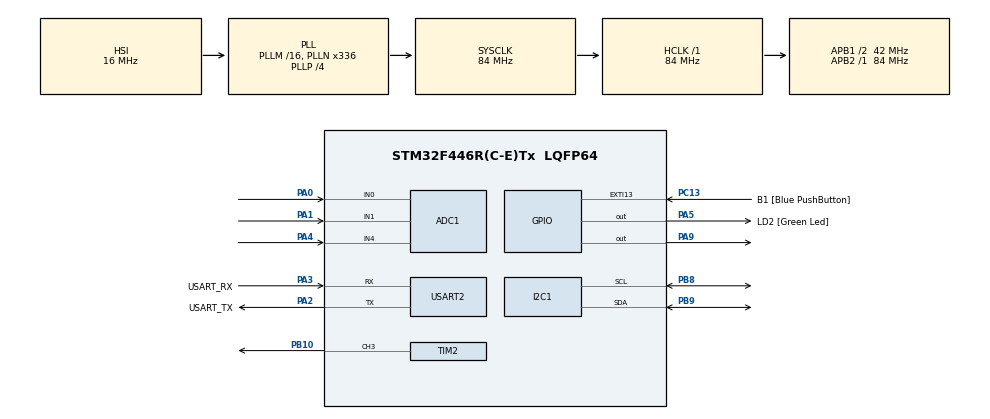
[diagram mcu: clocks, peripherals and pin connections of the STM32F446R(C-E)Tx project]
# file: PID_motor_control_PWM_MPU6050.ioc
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ADC1.Channel-1\#ChannelRegularConversion=ADC_CHANNEL_0
ADC1.Channel-2\#ChannelRegularConversion=ADC_CHANNEL_1
ADC1.Channel-3\#ChannelRegularConversion=ADC_CHANNEL_4
ADC1.ContinuousConvMode=ENABLE
ADC1.InjNumberOfConversion=0
ADC1.NbrOfConversion=3
ADC1.NbrOfConversionFlag=1
ADC1.Rank-1\#ChannelRegularConversion=1
ADC1.Rank-2\#ChannelRegularConversion=2
ADC1.Rank-3\#ChannelRegularConversion=3
ADC1.SamplingTime-1\#ChannelRegularConversion=ADC_SAMPLETIME_480CYCLES
ADC1.SamplingTime-2\#ChannelRegularConversion=ADC_SAMPLETIME_480CYCLES
ADC1.SamplingTime-3\#ChannelRegularConversion=ADC_SAMPLETIME_480CYCLES
ADC1.ScanConvMode=ENABLE
ADC1.master=1
Dma.Request0=TIM2_UP/CH3
Dma.TIM2_UP/CH3.0.Direction=DMA_MEMORY_TO_PERIPH
Dma.TIM2_UP/CH3.0.FIFOMode=DMA_FIFOMODE_DISABLE
Dma.TIM2_UP/CH3.0.Instance=DMA1_Stream1
Dma.TIM2_UP/CH3.0.MemDataAlignment=DMA_MDATAALIGN_WORD
Dma.TIM2_UP/CH3.0.MemInc=DMA_MINC_ENABLE
Dma.TIM2_UP/CH3.0.Mode=DMA_NORMAL
Dma.TIM2_UP/CH3.0.PeriphDataAlignment=DMA_PDATAALIGN_WORD
Dma.TIM2_UP/CH3.0.PeriphInc=DMA_PINC_DISABLE
Dma.TIM2_UP/CH3.0.Priority=DMA_PRIORITY_LOW
I2C1.I2C_Mode=I2C_Fast
Mcu.Family=STM32F4
Mcu.Name=STM32F446R(C-E)Tx
Mcu.Package=LQFP64
NVIC.ADC_IRQn=true\:0\:0\:true\:false\:true\:true\:true\:true
NVIC.DMA1_Stream1_IRQn=true\:0\:0\:false\:false\:true\:false\:true\:true
NVIC.PriorityGroup=NVIC_PRIORITYGROUP_0
NVIC.USART2_IRQn=true\:0\:0\:false\:false\:true\:true\:true\:true
PA0-WKUP.Signal=ADCx_IN0
PA1.Signal=ADCx_IN1
PA13.GPIO_Label=TMS
PA13.Mode=Serial_Wire
PA13.Signal=SYS_JTMS-SWDIO
PA14.GPIO_Label=TCK
PA14.Mode=Serial_Wire
PA14.Signal=SYS_JTCK-SWCLK
PA2.GPIO_Label=USART_TX
PA2.Mode=Asynchronous
PA2.Signal=USART2_TX
PA3.GPIO_Label=USART_RX
PA3.Mode=Asynchronous
PA3.Signal=USART2_RX
PA4.Signal=ADCx_IN4
PA5.GPIO_Label=LD2 [Green Led]
PA5.Signal=GPIO_Output
PA9.PinState=GPIO_PIN_SET
PA9.Signal=GPIO_Output
PB10.Signal=S_TIM2_CH3
PB3.GPIO_Label=SWO
PB3.Signal=SYS_JTDO-SWO
PB8.Mode=I2C
PB8.Signal=I2C1_SCL
PB9.Mode=I2C
PB9.Signal=I2C1_SDA
PC0.Signal=ADCx_IN10
PC13.GPIO_Label=B1 [Blue PushButton]
PC13.GPIO_ModeDefaultEXTI=GPIO_MODE_IT_FALLING
PC13.Signal=GPXTI13
PC14-OSC32_IN.Mode=LSE-External-Oscillator
PC14-OSC32_IN.Signal=RCC_OSC32_IN
PC15-OSC32_OUT.Mode=LSE-External-Oscillator
PC15-OSC32_OUT.Signal=RCC_OSC32_OUT
PH0-OSC_IN.Mode=HSE-External-Oscillator
PH0-OSC_IN.Signal=RCC_OSC_IN
PH1-OSC_OUT.Mode=HSE-External-Oscillator
PH1-OSC_OUT.Signal=RCC_OSC_OUT
ProjectManager.HeapSize=0x200
ProjectManager.StackSize=0x400
ProjectManager.TargetToolchain=STM32CubeIDE
RCC.48MHZClocksFreq_Value=84000000
RCC.AHBFreq_Value=84000000
RCC.APB1CLKDivider=RCC_HCLK_DIV2
RCC.APB1Freq_Value=42000000
RCC.APB1TimFreq_Value=84000000
RCC.APB2Freq_Value=84000000
RCC.APB2TimFreq_Value=84000000
RCC.CortexFreq_Value=84000000
RCC.FLatency-AdvancedSettings=FLASH_LATENCY_2
RCC.HCLKFreq_Value=84000000
RCC.HSE_VALUE=8000000
RCC.HSI_VALUE=16000000
RCC.PLLN=336
RCC.PLLP=RCC_PLLP_DIV4
RCC.SYSCLKFreq_VALUE=84000000
RCC.SYSCLKSource=RCC_SYSCLKSOURCE_PLLCLK
RCC.USBFreq_Value=168000000
RCC.VCOOutputFreq_Value=336000000
SH.ADCx_IN0.0=ADC1_IN0,IN0
SH.ADCx_IN1.0=ADC1_IN1,IN1
SH.ADCx_IN10.0=ADC3_IN10
SH.ADCx_IN10.1=ADC2_IN10
SH.ADCx_IN4.0=ADC1_IN4,IN4
SH.S_TIM2_CH3.0=TIM2_CH3,PWM Generation3 CH3
TIM2.Channel-PWM\ Generation3\ CH3=TIM_CHANNEL_3
TIM2.Period=100-1
TIM2.Prescaler=84-1
TIM2.Pulse-PWM\ Generation3\ CH3=0
USART2.VirtualMode=VM_ASYNC
board=NUCLEO-F446RE

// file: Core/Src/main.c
/* USER CODE BEGIN Header */
/**
  ******************************************************************************
  * @file           : main.c
  * @brief          : Main program body
  ******************************************************************************
  * @attention
  *
  * Copyright (c) 2024 STMicroelectronics.
  * All rights reserved.
  *
  * This software is licensed under terms that can be found in the LICENSE file
  * in the root directory of this software component.
  * If no LICENSE file comes with this software, it is provided AS-IS.
  *
  ******************************************************************************
  */
/* USER CODE END Header */
#include "main.h"

/* USER CODE BEGIN Includes */
#include "mpu.h"
#include "calculate_angle.h"
#include "pid.h"
#include "my_pid.h"
#include <time.h>

/* USER CODE END Includes */

ADC_HandleTypeDef hadc1;

I2C_HandleTypeDef hi2c1;

TIM_HandleTypeDef htim2;
DMA_HandleTypeDef hdma_tim2_up_ch3;

UART_HandleTypeDef huart2;

void SystemClock_Config(void);
static void MX_GPIO_Init(void);
static void MX_DMA_Init(void);
static void MX_USART2_UART_Init(void);
static void MX_TIM2_Init(void);
static void MX_ADC1_Init(void);
static void MX_I2C1_Init(void);

/* USER CODE BEGIN 0 */
double setpoint = 0;
double input, output;
double	MAX_PID_VALUE = 0.0;
double	MIN_PID_VALUE = 0.0;
double	prev_error;

uint16_t ADC_VAL[3];

PID_TypeDef t_PID;

void	read_potentiometers_values(void)
{
	  ADC_Select_CH0();
	  HAL_ADC_Start(&hadc1);
	  HAL_ADC_PollForConversion(&hadc1, 100);
	  ADC_VAL[0] = HAL_ADC_GetValue(&hadc1);
	  HAL_ADC_Stop(&hadc1);

	  ADC_Select_CH1();
	  HAL_ADC_Start(&hadc1);
	  HAL_ADC_PollForConversion(&hadc1, 100);
	  ADC_VAL[1] = HAL_ADC_GetValue(&hadc1);
	  HAL_ADC_Stop(&hadc1);

	  ADC_Select_CH4();
	  HAL_ADC_Start(&hadc1);
	  HAL_ADC_PollForConversion(&hadc1, 100);
	  ADC_VAL[2] = HAL_ADC_GetValue(&hadc1);
	  HAL_ADC_Stop(&hadc1);
}

int _write(int file, char *ptr, int len)
{
	HAL_UART_Transmit(&huart2, (uint8_t *)ptr, len, HAL_MAX_DELAY);
	return len;
}

void	set_PID_range(double *MIN_PID_VALUE, double *MAX_PID_VALUE, double dt, double kp, double ki, double kd)
{
    double error = 90;
    double *integral = 0;
//    double *prev_input;

//    double P = kp * error;
//    double I = ki * (prev_error + error) * dt;
//    double D = kd * (error - prev_error) / dt;
//
//    prev_error = error;
//
//    double output = P + I + D;
    double P = kp * error;
    //    double I = ki * (*previous_error + error) * dt;
        *integral += ki * error;
    //    double I = ki * error * dt;
    //    double D = kd * (error -  *previous_error) / dt;
        double D = kd * (error - prev_error);
        prev_error = error;
//        *prev_input = angle;

        double output = P + *integral - D;

	*MAX_PID_VALUE = output;
	*MIN_PID_VALUE = -output;
}
/* USER CODE END 0 */

int main(void)
{

  /* MCU Configuration--------------------------------------------------------*/

  /* Reset of all peripherals, Initializes the Flash interface and the Systick. */
  HAL_Init();

  /* USER CODE BEGIN Init */
  MPU6050_t mpu;
  Angle_t	angle;
  double	pot_P_value, pot_I_value, pot_D_value;

  double	dt = 0.0;
  uint32_t	start_time = 0;

  double integral = 0.0;
  double previous_error;
  /* USER CODE END Init */

  /* Configure the system clock */
  SystemClock_Config();

  /* Initialize all configured peripherals */
  MX_GPIO_Init();
  MX_DMA_Init();
  MX_USART2_UART_Init();
  MX_TIM2_Init();
  MX_ADC1_Init();
  MX_I2C1_Init();
  /* USER CODE BEGIN 2 */
//  HAL_GPIO_Init(GPIOA, GPIO_PIN_9, GPIO_MODE_OUTPUT_PP);

  while (MPU6050_Init(&hi2c1) == 1);

//  PID(&t_PID, &input, &output, &setpoint, 2.3, 0.5, 0.2, _PID_P_ON_E, _PID_CD_DIRECT);	///1.5	0.8		0.07
//  PID(&t_PID, &input, &output, &setpoint, 0, 0, 0, _PID_P_ON_E, _PID_CD_DIRECT);			///1.8	1.1		0.12
//  PID_SetMode(&t_PID, _PID_MODE_AUTOMATIC);
//  PID_SetSampleTime(&t_PID, 1);
//  PID_SetOutputLimits(&t_PID, -255, 255);

//  PID1(setpoint, setpoint, 0, dt, 0, 0, 0);

  HAL_TIM_PWM_Start(&htim2, TIM_CHANNEL_3);

  double prev_input;
  /* USER CODE END 2 */

  /* Infinite loop */
  while (1)
  {

    /* USER CODE BEGIN 3 */
	  printf("HEEELLLOO");
	  HAL_GPIO_WritePin(GPIOA, GPIO_PIN_9, GPIO_PIN_SET);
//	  read_potentiometers_values();

//	  pot_P_value = map1(ADC_VAL[0], 0, 4095, 0, 5, 0.1);
//	  pot_I_value = map1(ADC_VAL[1], 0, 4095, 0, 10, 0.1);
//	  pot_D_value = map1(ADC_VAL[2], 0, 4095, 0, 2, 0.01);
	  pot_P_value = 600;
	  pot_I_value = 0.5;
	  pot_D_value = 0;
	  MPU6050_Read_Accel(&hi2c1, &mpu);
//	  CalculateAccAngle(&angle, &mpu);
	  input = (int)mpu.KalmanAngleX;
//	  printf("%f\t %f\n\r", mpu.KalmanAngleX, mpu.KalmanAngleY);
//	  input = angle.acc_roll;
//	  printf("angle = %f\n\r", angle.acc_roll);
//	  printf("angle = %f\n\r", mpu.KalmanAngleX);
//	  PID_SetTunings(&t_PID, pot_P_value, pot_I_value, pot_D_value);
//	  PID_Compute(&t_PID);

	  ////------PID version 1------------

//
//	  uint32_t current_time = HAL_GetTick();
//	  dt = (current_time - start_time) / 1000.0;

//	  printf("%f\t", dt);
	  double output1 = PID1(input, setpoint, &previous_error, &prev_input, &integral, dt, pot_P_value, pot_I_value, pot_D_value);

	  //	  printf("angle = %f\t OUTPUT1 = %f\n\r", input, output1);
//	  printf("Angle = %f\n\r", input);
//	  MIN_PID_VALUE = PID1(90, setpoint, &previous_error, dt, pot_P_value, pot_I_value, pot_D_value);
	  set_PID_range(&MIN_PID_VALUE, &MAX_PID_VALUE, dt, pot_P_value, pot_I_value, pot_D_value);
//	  printf("output1 = %f\t min = %f\t max = %f\n\r", output1, MIN_PID_VALUE, MAX_PID_VALUE);

//	  start_time = current_time;

//	  printf("Angle = %f\t ", mpu.KalmanAngleX);
//	  set_PID_range(&MIN_PID_VALUE, &MAX_PID_VALUE, dt, pot_P_value, pot_I_value, pot_D_value);
//	  double pwm = map(output, -255, 255, 30, 70);
	  double pwm = map(output1, MIN_PID_VALUE, MAX_PID_VALUE, 10, 90);
	  TIM2->CCR3 = pwm;
//	  HAL_TIM_PWM_Start(&htim2, TIM_CHANNEL_3);

//	  printf("pwm = %f\t P = %f\t I = %f\t D = %f\n\r", pwm, pot_P_value, pot_I_value, pot_D_value);
//	  HAL_Delay(0.1);
	  HAL_GPIO_WritePin(GPIOA, GPIO_PIN_9, GPIO_PIN_RESET);
  }
  /* USER CODE END 3 */
}

void SystemClock_Config(void)
{
  RCC_OscInitTypeDef RCC_OscInitStruct = {0};
  RCC_ClkInitTypeDef RCC_ClkInitStruct = {0};

  /** Configure the main internal regulator output voltage
  */
  __HAL_RCC_PWR_CLK_ENABLE();
  __HAL_PWR_VOLTAGESCALING_CONFIG(PWR_REGULATOR_VOLTAGE_SCALE3);

  /** Initializes the RCC Oscillators according to the specified parameters
  * in the RCC_OscInitTypeDef structure.
  */
  RCC_OscInitStruct.OscillatorType = RCC_OSCILLATORTYPE_HSI;
  RCC_OscInitStruct.HSIState = RCC_HSI_ON;
  RCC_OscInitStruct.HSICalibrationValue = RCC_HSICALIBRATION_DEFAULT;
  RCC_OscInitStruct.PLL.PLLState = RCC_PLL_ON;
  RCC_OscInitStruct.PLL.PLLSource = RCC_PLLSOURCE_HSI;
  RCC_OscInitStruct.PLL.PLLM = 16;
  RCC_OscInitStruct.PLL.PLLN = 336;
  RCC_OscInitStruct.PLL.PLLP = RCC_PLLP_DIV4;
  RCC_OscInitStruct.PLL.PLLQ = 2;
  RCC_OscInitStruct.PLL.PLLR = 2;
  if (HAL_RCC_OscConfig(&RCC_OscInitStruct) != HAL_OK)
  {
    Error_Handler();
  }

  /** Initializes the CPU, AHB and APB buses clocks
  */
  RCC_ClkInitStruct.ClockType = RCC_CLOCKTYPE_HCLK|RCC_CLOCKTYPE_SYSCLK
                              |RCC_CLOCKTYPE_PCLK1|RCC_CLOCKTYPE_PCLK2;
  RCC_ClkInitStruct.SYSCLKSource = RCC_SYSCLKSOURCE_PLLCLK;
  RCC_ClkInitStruct.AHBCLKDivider = RCC_SYSCLK_DIV1;
  RCC_ClkInitStruct.APB1CLKDivider = RCC_HCLK_DIV2;
  RCC_ClkInitStruct.APB2CLKDivider = RCC_HCLK_DIV1;

  if (HAL_RCC_ClockConfig(&RCC_ClkInitStruct, FLASH_LATENCY_2) != HAL_OK)
  {
    Error_Handler();
  }
}

static void MX_ADC1_Init(void)
{

  ADC_ChannelConfTypeDef sConfig = {0};

  /** Configure the global features of the ADC (Clock, Resolution, Data Alignment and number of conversion)
  */
  hadc1.Instance = ADC1;
  hadc1.Init.ClockPrescaler = ADC_CLOCK_SYNC_PCLK_DIV4;
  hadc1.Init.Resolution = ADC_RESOLUTION_12B;
  hadc1.Init.ScanConvMode = ENABLE;
  hadc1.Init.ContinuousConvMode = ENABLE;
  hadc1.Init.DiscontinuousConvMode = DISABLE;
  hadc1.Init.ExternalTrigConvEdge = ADC_EXTERNALTRIGCONVEDGE_NONE;
  hadc1.Init.ExternalTrigConv = ADC_SOFTWARE_START;
  hadc1.Init.DataAlign = ADC_DATAALIGN_RIGHT;
  hadc1.Init.NbrOfConversion = 3;
  hadc1.Init.DMAContinuousRequests = DISABLE;
  hadc1.Init.EOCSelection = ADC_EOC_SINGLE_CONV;
  if (HAL_ADC_Init(&hadc1) != HAL_OK)
  {
    Error_Handler();
  }

  /** Configure for the selected ADC regular channel its corresponding rank in the sequencer and its sample time.
  */
  sConfig.Channel = ADC_CHANNEL_0;
  sConfig.Rank = 1;
  sConfig.SamplingTime = ADC_SAMPLETIME_480CYCLES;
  if (HAL_ADC_ConfigChannel(&hadc1, &sConfig) != HAL_OK)
  {
    Error_Handler();
  }

  /** Configure for the selected ADC regular channel its corresponding rank in the sequencer and its sample time.
  */
  sConfig.Channel = ADC_CHANNEL_1;
  sConfig.Rank = 2;
  if (HAL_ADC_ConfigChannel(&hadc1, &sConfig) != HAL_OK)
  {
    Error_Handler();
  }

  /** Configure for the selected ADC regular channel its corresponding rank in the sequencer and its sample time.
  */
  sConfig.Channel = ADC_CHANNEL_4;
  sConfig.Rank = 3;
  if (HAL_ADC_ConfigChannel(&hadc1, &sConfig) != HAL_OK)
  {
    Error_Handler();
  }

}

static void MX_I2C1_Init(void)
{

  hi2c1.Instance = I2C1;
  hi2c1.Init.ClockSpeed = 400000;
  hi2c1.Init.DutyCycle = I2C_DUTYCYCLE_2;
  hi2c1.Init.OwnAddress1 = 0;
  hi2c1.Init.AddressingMode = I2C_ADDRESSINGMODE_7BIT;
  hi2c1.Init.DualAddressMode = I2C_DUALADDRESS_DISABLE;
  hi2c1.Init.OwnAddress2 = 0;
  hi2c1.Init.GeneralCallMode = I2C_GENERALCALL_DISABLE;
  hi2c1.Init.NoStretchMode = I2C_NOSTRETCH_DISABLE;
  if (HAL_I2C_Init(&hi2c1) != HAL_OK)
  {
    Error_Handler();
  }

}

static void MX_TIM2_Init(void)
{

  TIM_MasterConfigTypeDef sMasterConfig = {0};
  TIM_OC_InitTypeDef sConfigOC = {0};

  htim2.Instance = TIM2;
  htim2.Init.Prescaler = 84-1;
  htim2.Init.CounterMode = TIM_COUNTERMODE_UP;
  htim2.Init.Period = 100-1;
  htim2.Init.ClockDivision = TIM_CLOCKDIVISION_DIV1;
  htim2.Init.AutoReloadPreload = TIM_AUTORELOAD_PRELOAD_DISABLE;
  if (HAL_TIM_PWM_Init(&htim2) != HAL_OK)
  {
    Error_Handler();
  }
  sMasterConfig.MasterOutputTrigger = TIM_TRGO_RESET;
  sMasterConfig.MasterSlaveMode = TIM_MASTERSLAVEMODE_DISABLE;
  if (HAL_TIMEx_MasterConfigSynchronization(&htim2, &sMasterConfig) != HAL_OK)
  {
    Error_Handler();
  }
  sConfigOC.OCMode = TIM_OCMODE_PWM1;
  sConfigOC.Pulse = 0;
  sConfigOC.OCPolarity = TIM_OCPOLARITY_HIGH;
  sConfigOC.OCFastMode = TIM_OCFAST_DISABLE;
  if (HAL_TIM_PWM_ConfigChannel(&htim2, &sConfigOC, TIM_CHANNEL_3) != HAL_OK)
  {
    Error_Handler();
  }
  HAL_TIM_MspPostInit(&htim2);

}

static void MX_USART2_UART_Init(void)
{

  huart2.Instance = USART2;
  huart2.Init.BaudRate = 115200;
  huart2.Init.WordLength = UART_WORDLENGTH_8B;
  huart2.Init.StopBits = UART_STOPBITS_1;
  huart2.Init.Parity = UART_PARITY_NONE;
  huart2.Init.Mode = UART_MODE_TX_RX;
  huart2.Init.HwFlowCtl = UART_HWCONTROL_NONE;
  huart2.Init.OverSampling = UART_OVERSAMPLING_16;
  if (HAL_UART_Init(&huart2) != HAL_OK)
  {
    Error_Handler();
  }

}

static void MX_DMA_Init(void)
{

  /* DMA controller clock enable */
  __HAL_RCC_DMA1_CLK_ENABLE();

  /* DMA interrupt init */
  /* DMA1_Stream1_IRQn interrupt configuration */
  HAL_NVIC_SetPriority(DMA1_Stream1_IRQn, 0, 0);
  HAL_NVIC_EnableIRQ(DMA1_Stream1_IRQn);

}

static void MX_GPIO_Init(void)
{
  GPIO_InitTypeDef GPIO_InitStruct = {0};

  /* GPIO Ports Clock Enable */
  __HAL_RCC_GPIOC_CLK_ENABLE();
  __HAL_RCC_GPIOH_CLK_ENABLE();
  __HAL_RCC_GPIOA_CLK_ENABLE();
  __HAL_RCC_GPIOB_CLK_ENABLE();

  /*Configure GPIO pin Output Level */
  HAL_GPIO_WritePin(LD2_GPIO_Port, LD2_Pin, GPIO_PIN_RESET);

  /*Configure GPIO pin Output Level */
  HAL_GPIO_WritePin(GPIOA, GPIO_PIN_9, GPIO_PIN_SET);

  /*Configure GPIO pin : B1_Pin */
  GPIO_InitStruct.Pin = B1_Pin;
  GPIO_InitStruct.Mode = GPIO_MODE_IT_FALLING;
  GPIO_InitStruct.Pull = GPIO_NOPULL;
  HAL_GPIO_Init(B1_GPIO_Port, &GPIO_InitStruct);

  /*Configure GPIO pin : PC0 */
  GPIO_InitStruct.Pin = GPIO_PIN_0;
  GPIO_InitStruct.Mode = GPIO_MODE_ANALOG;
  GPIO_InitStruct.Pull = GPIO_NOPULL;
  HAL_GPIO_Init(GPIOC, &GPIO_InitStruct);

  /*Configure GPIO pins : LD2_Pin PA9 */
  GPIO_InitStruct.Pin = LD2_Pin|GPIO_PIN_9;
  GPIO_InitStruct.Mode = GPIO_MODE_OUTPUT_PP;
  GPIO_InitStruct.Pull = GPIO_NOPULL;
  GPIO_InitStruct.Speed = GPIO_SPEED_FREQ_LOW;
  HAL_GPIO_Init(GPIOA, &GPIO_InitStruct);

}

void Error_Handler(void)
{
  __disable_irq();
  while (1)
  {
  }
}
